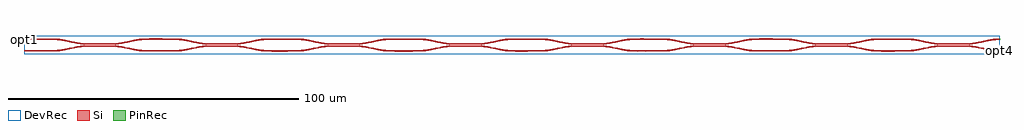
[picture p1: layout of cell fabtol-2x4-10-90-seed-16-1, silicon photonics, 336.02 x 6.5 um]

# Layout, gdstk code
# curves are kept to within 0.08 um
import gdstk
lib = gdstk.Library(unit=1e-6, precision=1e-09)
def R(c, l, rs):  # rectangles x0, y0, x1, y1
    for r in rs: c.add(gdstk.rectangle(r[:2], r[2:], *l))
def P(c, l, *ps):  # polygons
    for p in ps: c.add(gdstk.Polygon(p, *l))
Si = (1, 0)
PinRec = (1, 10)
DevRec = (68, 0)

layer_3_0_phase_sec_3_45 = lib.new_cell('layer-3_0_phase_sec_3$45')
P(layer_3_0_phase_sec_3_45, Si, [(3.437,-0.243),(0,-0.225),(0,0.225),(10,0.225),(10,-0.225)])

layer_3_0_phase_sec_2_45 = lib.new_cell('layer-3_0_phase_sec_2$45')
P(layer_3_0_phase_sec_2_45, Si, [(2.258,-0.234),(0,-0.225),(0,0.225),(10,0.225),(10,-0.225)])

layer_3_0_phase_sec_1_45 = lib.new_cell('layer-3_0_phase_sec_1$45')
P(layer_3_0_phase_sec_1_45, Si, [(2.71,-0.228),(0,-0.225),(0,0.225),(10,0.225),(10,-0.225)])

layer_3_0_phase_sec_0_45 = lib.new_cell('layer-3_0_phase_sec_0$45')
P(layer_3_0_phase_sec_0_45, Si, [(1.155,-0.251),(0,-0.225),(0,0.225),(10,0.225),(10,-0.225)])

layer_0_0_phase_sec_3_45 = lib.new_cell('layer-0_0_phase_sec_3$45')
P(layer_0_0_phase_sec_3_45, Si, [(1.237,-0.229),(0,-0.225),(0,0.225),(10,0.225),(10,-0.225)])

layer_0_0_phase_sec_1_45 = lib.new_cell('layer-0_0_phase_sec_1$45')
P(layer_0_0_phase_sec_1_45, Si, [(4.328,-0.228),(0,-0.225),(0,0.225),(10,0.225),(10,-0.225)])

dc_arm_down_45 = lib.new_cell('dc_arm_down$45')
R(dc_arm_down_45, Si, [(12,-0.55,20,-0.1)])
P(dc_arm_down_45, Si, [(32,-2.225),(30.861,-2.188),(29.344,-2.033),(22.966,-0.793),(21.481,-0.613),(20,-0.55),(20,-0.1),(21.139,-0.137),(22.656,-0.292),(29.034,-1.532),(30.519,-1.712),(32,-1.775)],
  [(0,-2.225),(0,-1.775),(1.481,-1.712),(2.966,-1.532),(9.344,-0.292),(10.861,-0.137),(12,-0.1),(12,-0.55),(10.519,-0.613),(9.034,-0.793),(2.656,-2.033),(1.139,-2.188)])

dc_arm_up_45 = lib.new_cell('dc_arm_up$45')
R(dc_arm_up_45, Si, [(12,0.1,20,0.55)])
P(dc_arm_up_45, Si, [(20,0.1),(20,0.55),(21.481,0.613),(22.966,0.793),(29.344,2.033),(30.861,2.188),(32,2.225),(32,1.775),(30.519,1.712),(29.034,1.532),(22.656,0.292),(21.139,0.137)],
  [(12,0.1),(10.861,0.137),(9.344,0.292),(2.966,1.532),(1.481,1.712),(0,1.775),(0,2.225),(1.139,2.188),(2.656,2.033),(9.034,0.793),(10.519,0.613),(12,0.55)])

dc_45 = lib.new_cell('dc$45')
dc_45.add(gdstk.Reference(dc_arm_down_45, (0,0)))
dc_45.add(gdstk.Reference(dc_arm_up_45, (0,0)))

layer_0_0_phase_sec_2_45 = lib.new_cell('layer-0_0_phase_sec_2$45')
P(layer_0_0_phase_sec_2_45, Si, [(1.119,-0.248),(0,-0.225),(0,0.225),(10,0.225),(10,-0.225)])

layer_1_0_phase_sec_0_45 = lib.new_cell('layer-1_0_phase_sec_0$45')
P(layer_1_0_phase_sec_0_45, Si, [(5.555,-0.235),(0,-0.225),(0,0.225),(10,0.225),(10,-0.225)])

layer_1_0_phase_sec_1_45 = lib.new_cell('layer-1_0_phase_sec_1$45')
P(layer_1_0_phase_sec_1_45, Si, [(1.361,-0.244),(0,-0.225),(0,0.225),(10,0.225),(10,-0.225)])

layer_0_0_phase_sec_0_45 = lib.new_cell('layer-0_0_phase_sec_0$45')
P(layer_0_0_phase_sec_0_45, Si, [(3.422,-0.238),(0,-0.225),(0,0.225),(10,0.225),(10,-0.225)])

layer_1_0_phase_sec_2_45 = lib.new_cell('layer-1_0_phase_sec_2$45')
P(layer_1_0_phase_sec_2_45, Si, [(1.07,-0.234),(0,-0.225),(0,0.225),(10,0.225),(10,-0.225)])

layer_1_0_phase_sec_3_45 = lib.new_cell('layer-1_0_phase_sec_3$45')
P(layer_1_0_phase_sec_3_45, Si, [(4.697,-0.245),(0,-0.225),(0,0.225),(10,0.225),(10,-0.225)])

layer_2_0_phase_sec_0_45 = lib.new_cell('layer-2_0_phase_sec_0$45')
P(layer_2_0_phase_sec_0_45, Si, [(5.085,-0.237),(0,-0.225),(0,0.225),(10,0.225),(10,-0.225)])

layer_2_0_phase_sec_1_45 = lib.new_cell('layer-2_0_phase_sec_1$45')
P(layer_2_0_phase_sec_1_45, Si, [(4.286,-0.242),(0,-0.225),(0,0.225),(10,0.225),(10,-0.225)])

layer_2_0_phase_sec_2_45 = lib.new_cell('layer-2_0_phase_sec_2$45')
P(layer_2_0_phase_sec_2_45, Si, [(3.281,-0.242),(0,-0.225),(0,0.225),(10,0.225),(10,-0.225)])

layer_2_0_phase_sec_3_45 = lib.new_cell('layer-2_0_phase_sec_3$45')
P(layer_2_0_phase_sec_3_45, Si, [(1.338,-0.237),(0,-0.225),(0,0.225),(10,0.225),(10,-0.225)])

fabtol_2x4_10_90_seed_16 = lib.new_cell('fabtol-2x4-10-90-seed-16-1')
R(fabtol_2x4_10_90_seed_16, DevRec, [(0,-1,336,5.496)])
fabtol_2x4_10_90_seed_16.add(gdstk.FlexPath([(335.99,0.245),(336.01,0.245)], 0.45, ends="flush", simple_path=True, layer=1, datatype=10))  # PinRec
fabtol_2x4_10_90_seed_16.add(gdstk.FlexPath([(335.99,4.245),(336.01,4.245)], 0.45, ends="flush", simple_path=True, layer=1, datatype=10))  # PinRec
fabtol_2x4_10_90_seed_16.add(gdstk.FlexPath([(0.01,4.245),(-0.01,4.245)], 0.45, ends="flush", simple_path=True, layer=1, datatype=10))  # PinRec
fabtol_2x4_10_90_seed_16.add(gdstk.Reference(layer_3_0_phase_sec_3_45, (294,0.245)))
fabtol_2x4_10_90_seed_16.add(gdstk.Reference(layer_3_0_phase_sec_2_45, (294,4.245)))
fabtol_2x4_10_90_seed_16.add(gdstk.Reference(layer_3_0_phase_sec_1_45, (252,0.245)))
fabtol_2x4_10_90_seed_16.add(gdstk.Reference(layer_3_0_phase_sec_0_45, (252,4.245)))
fabtol_2x4_10_90_seed_16.add(gdstk.Reference(layer_0_0_phase_sec_3_45, (42,0.245)))
fabtol_2x4_10_90_seed_16.add(gdstk.Reference(layer_0_0_phase_sec_1_45, (0,0.245)))
fabtol_2x4_10_90_seed_16.add(gdstk.Reference(dc_45, (10,2.245)))
fabtol_2x4_10_90_seed_16.add(gdstk.Reference(dc_45, (52,2.245)))
fabtol_2x4_10_90_seed_16.add(gdstk.Reference(dc_45, (94,2.245)))
fabtol_2x4_10_90_seed_16.add(gdstk.Reference(dc_45, (136,2.245)))
fabtol_2x4_10_90_seed_16.add(gdstk.Reference(dc_45, (178,2.245)))
fabtol_2x4_10_90_seed_16.add(gdstk.Reference(dc_45, (220,2.245)))
fabtol_2x4_10_90_seed_16.add(gdstk.Reference(dc_45, (262,2.245)))
fabtol_2x4_10_90_seed_16.add(gdstk.Reference(dc_45, (304,2.245)))
fabtol_2x4_10_90_seed_16.add(gdstk.Reference(layer_0_0_phase_sec_2_45, (42,4.245)))
fabtol_2x4_10_90_seed_16.add(gdstk.Reference(layer_1_0_phase_sec_0_45, (84,4.245)))
fabtol_2x4_10_90_seed_16.add(gdstk.Reference(layer_1_0_phase_sec_1_45, (84,0.245)))
fabtol_2x4_10_90_seed_16.add(gdstk.Reference(layer_0_0_phase_sec_0_45, (0,4.245)))
fabtol_2x4_10_90_seed_16.add(gdstk.Reference(layer_1_0_phase_sec_2_45, (126,4.245)))
fabtol_2x4_10_90_seed_16.add(gdstk.Reference(layer_1_0_phase_sec_3_45, (126,0.245)))
fabtol_2x4_10_90_seed_16.add(gdstk.Reference(layer_2_0_phase_sec_0_45, (168,4.245)))
fabtol_2x4_10_90_seed_16.add(gdstk.Reference(layer_2_0_phase_sec_1_45, (168,0.245)))
fabtol_2x4_10_90_seed_16.add(gdstk.Reference(layer_2_0_phase_sec_2_45, (210,4.245)))
fabtol_2x4_10_90_seed_16.add(gdstk.Reference(layer_2_0_phase_sec_3_45, (210,0.245)))
fabtol_2x4_10_90_seed_16.add(gdstk.Label('opt4', (336,0.245), layer=1, texttype=10))
fabtol_2x4_10_90_seed_16.add(gdstk.Label('opt3', (336,4.245), layer=1, texttype=10))
fabtol_2x4_10_90_seed_16.add(gdstk.Label('opt1', (0,4.245), layer=1, texttype=10))

lib.write_gds('fabtol-2x4-10-90-seed-16-1.gds')
